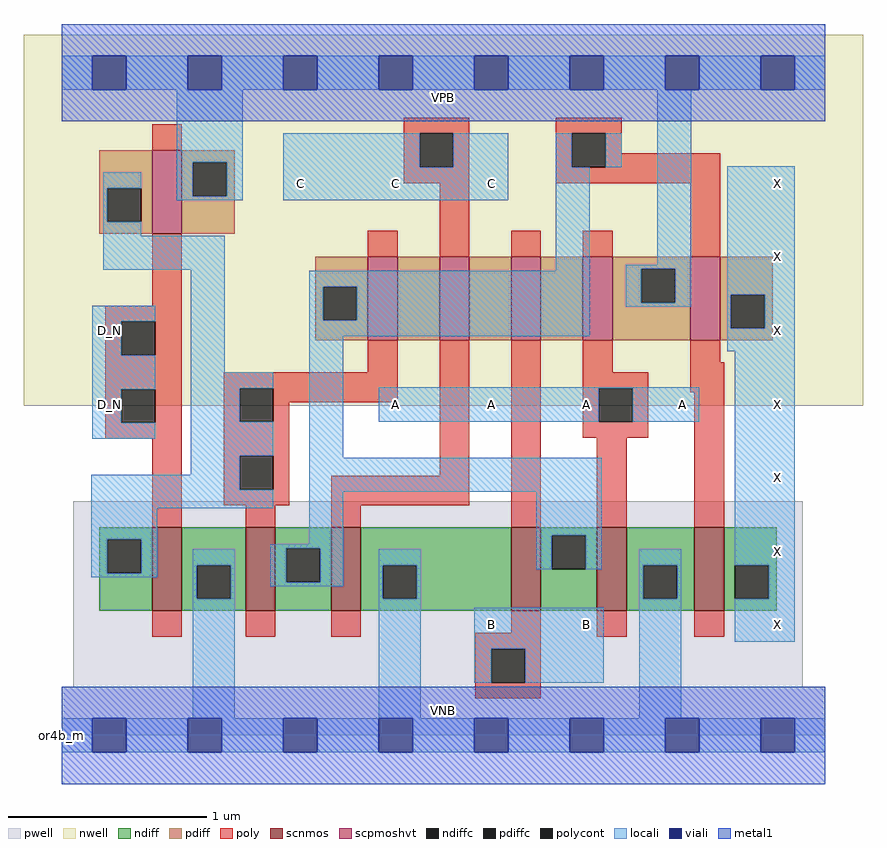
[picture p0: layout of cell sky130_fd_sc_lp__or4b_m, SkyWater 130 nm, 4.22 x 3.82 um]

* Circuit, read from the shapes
.subckt sky130_fd_sc_lp__or4b_m A B C D_N VGND VNB VPB VPWR X
XM1 VGND D_N n1 VNB sky130_fd_pr__nfet_01v8 w=0.42 l=0.15
XM2 n2 n1 VGND VNB sky130_fd_pr__nfet_01v8 w=0.42 l=0.15
XM3 VGND C n2 VNB sky130_fd_pr__nfet_01v8 w=0.42 l=0.15
XM4 n2 B VGND VNB sky130_fd_pr__nfet_01v8 w=0.42 l=0.15
XM5 VGND A n2 VNB sky130_fd_pr__nfet_01v8 w=0.42 l=0.15
XM6 X n2 VGND VNB sky130_fd_pr__nfet_01v8 w=0.42 l=0.15
XM7 VPWR D_N n1 VPB sky130_fd_pr__pfet_01v8_hvt w=0.42 l=0.15
XM8 n3 n1 n2 VPB sky130_fd_pr__pfet_01v8_hvt w=0.42 l=0.15
XM9 n4 C n3 VPB sky130_fd_pr__pfet_01v8_hvt w=0.42 l=0.15
XM10 n5 B n4 VPB sky130_fd_pr__pfet_01v8_hvt w=0.42 l=0.15
XM11 VPWR A n5 VPB sky130_fd_pr__pfet_01v8_hvt w=0.42 l=0.15
XM12 X n2 VPWR VPB sky130_fd_pr__pfet_01v8_hvt w=0.42 l=0.15
.ends

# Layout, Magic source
magic
tech sky130A
magscale 1 2
<< nwell >>
rect -38 331 806 704
<< pwell >>
rect 12 49 745 235
rect 0 0 768 49
<< scnmos >>
rect 91 125 121 209
rect 185 125 215 209
rect 271 125 301 209
rect 452 125 482 209
rect 538 125 568 209
rect 636 125 666 209
<< scpmoshvt >>
rect 91 504 121 588
rect 308 397 338 481
rect 380 397 410 481
rect 452 397 482 481
rect 524 397 554 481
rect 632 397 662 481
<< ndiff >>
rect 38 197 91 209
rect 38 163 46 197
rect 80 163 91 197
rect 38 125 91 163
rect 121 171 185 209
rect 121 137 136 171
rect 170 137 185 171
rect 121 125 185 137
rect 215 188 271 209
rect 215 154 226 188
rect 260 154 271 188
rect 215 125 271 154
rect 301 171 452 209
rect 301 137 323 171
rect 357 137 452 171
rect 301 125 452 137
rect 482 201 538 209
rect 482 167 493 201
rect 527 167 538 201
rect 482 125 538 167
rect 568 171 636 209
rect 568 137 585 171
rect 619 137 636 171
rect 568 125 636 137
rect 666 171 719 209
rect 666 137 677 171
rect 711 137 719 171
rect 666 125 719 137
<< pdiff >>
rect 38 550 91 588
rect 38 516 46 550
rect 80 516 91 550
rect 38 504 91 516
rect 121 576 174 588
rect 121 542 132 576
rect 166 542 174 576
rect 121 504 174 542
rect 255 451 308 481
rect 255 417 263 451
rect 297 417 308 451
rect 255 397 308 417
rect 338 397 380 481
rect 410 397 452 481
rect 482 397 524 481
rect 554 469 632 481
rect 554 435 583 469
rect 617 435 632 469
rect 554 397 632 435
rect 662 443 715 481
rect 662 409 673 443
rect 707 409 715 443
rect 662 397 715 409
<< ndiffc >>
rect 46 163 80 197
rect 136 137 170 171
rect 226 154 260 188
rect 323 137 357 171
rect 493 167 527 201
rect 585 137 619 171
rect 677 137 711 171
<< pdiffc >>
rect 46 516 80 550
rect 132 542 166 576
rect 263 417 297 451
rect 583 435 617 469
rect 673 409 707 443
<< poly >>
rect 91 588 121 614
rect 344 605 410 621
rect 344 571 360 605
rect 394 571 410 605
rect 344 555 410 571
rect 497 605 563 621
rect 497 571 513 605
rect 547 585 563 605
rect 547 571 662 585
rect 497 555 662 571
rect 91 432 121 504
rect 308 481 338 507
rect 380 481 410 555
rect 452 481 482 507
rect 524 481 554 507
rect 632 481 662 555
rect 44 416 121 432
rect 44 382 60 416
rect 94 382 121 416
rect 44 348 121 382
rect 308 365 338 397
rect 44 314 60 348
rect 94 314 121 348
rect 44 298 121 314
rect 91 209 121 298
rect 163 349 338 365
rect 163 315 179 349
rect 213 335 338 349
rect 213 315 229 335
rect 163 281 229 315
rect 163 247 179 281
rect 213 247 229 281
rect 380 261 410 397
rect 163 231 229 247
rect 271 231 410 261
rect 185 209 215 231
rect 271 209 301 231
rect 452 209 482 397
rect 524 365 554 397
rect 632 375 662 397
rect 524 349 590 365
rect 524 315 540 349
rect 574 315 590 349
rect 632 345 666 375
rect 524 299 590 315
rect 538 209 568 299
rect 636 209 666 345
rect 91 99 121 125
rect 185 99 215 125
rect 271 99 301 125
rect 452 103 482 125
rect 416 87 482 103
rect 538 99 568 125
rect 636 99 666 125
rect 416 53 432 87
rect 466 53 482 87
rect 416 37 482 53
<< polycont >>
rect 360 571 394 605
rect 513 571 547 605
rect 60 382 94 416
rect 60 314 94 348
rect 179 315 213 349
rect 179 247 213 281
rect 540 315 574 349
rect 432 53 466 87
<< locali >>
rect 0 649 31 683
rect 65 649 127 683
rect 161 649 223 683
rect 257 649 319 683
rect 353 649 415 683
rect 449 649 511 683
rect 545 649 607 683
rect 641 649 703 683
rect 737 649 768 683
rect 116 576 182 649
rect 42 550 80 566
rect 42 516 46 550
rect 116 542 132 576
rect 166 542 182 576
rect 116 538 182 542
rect 223 571 360 605
rect 394 571 449 605
rect 223 538 449 571
rect 497 571 513 605
rect 547 571 563 605
rect 42 502 80 516
rect 42 468 164 502
rect 31 416 94 432
rect 31 382 60 416
rect 31 348 94 382
rect 31 314 60 348
rect 31 298 94 314
rect 130 365 164 468
rect 497 467 531 571
rect 599 473 633 649
rect 249 451 531 467
rect 249 417 263 451
rect 297 417 531 451
rect 567 469 633 473
rect 567 435 583 469
rect 617 435 633 469
rect 567 431 633 435
rect 669 443 737 572
rect 249 401 531 417
rect 669 409 673 443
rect 707 409 737 443
rect 130 349 213 365
rect 130 315 179 349
rect 130 281 213 315
rect 130 262 179 281
rect 30 247 179 262
rect 30 228 213 247
rect 249 279 283 401
rect 669 386 737 409
rect 319 349 641 350
rect 319 315 540 349
rect 574 315 641 349
rect 249 245 543 279
rect 30 197 96 228
rect 30 163 46 197
rect 80 163 96 197
rect 249 192 283 245
rect 210 188 283 192
rect 30 159 96 163
rect 132 171 174 187
rect 132 137 136 171
rect 170 137 174 171
rect 210 154 226 188
rect 260 154 283 188
rect 477 201 543 245
rect 210 150 283 154
rect 319 171 361 187
rect 132 17 174 137
rect 319 137 323 171
rect 357 137 361 171
rect 477 167 493 201
rect 527 167 543 201
rect 581 171 623 187
rect 319 17 361 137
rect 581 137 585 171
rect 619 137 623 171
rect 415 87 545 128
rect 415 53 432 87
rect 466 53 545 87
rect 581 17 623 137
rect 677 171 737 386
rect 711 137 737 171
rect 677 94 737 137
rect 0 -17 31 17
rect 65 -17 127 17
rect 161 -17 223 17
rect 257 -17 319 17
rect 353 -17 415 17
rect 449 -17 511 17
rect 545 -17 607 17
rect 641 -17 703 17
rect 737 -17 768 17
<< viali >>
rect 31 649 65 683
rect 127 649 161 683
rect 223 649 257 683
rect 319 649 353 683
rect 415 649 449 683
rect 511 649 545 683
rect 607 649 641 683
rect 703 649 737 683
rect 31 -17 65 17
rect 127 -17 161 17
rect 223 -17 257 17
rect 319 -17 353 17
rect 415 -17 449 17
rect 511 -17 545 17
rect 607 -17 641 17
rect 703 -17 737 17
<< metal1 >>
rect 0 683 768 715
rect 0 649 31 683
rect 65 649 127 683
rect 161 649 223 683
rect 257 649 319 683
rect 353 649 415 683
rect 449 649 511 683
rect 545 649 607 683
rect 641 649 703 683
rect 737 649 768 683
rect 0 617 768 649
rect 0 17 768 49
rect 0 -17 31 17
rect 65 -17 127 17
rect 161 -17 223 17
rect 257 -17 319 17
rect 353 -17 415 17
rect 449 -17 511 17
rect 545 -17 607 17
rect 641 -17 703 17
rect 737 -17 768 17
rect 0 -49 768 -17
<< labels >>
flabel pwell s 0 0 768 49 0 FreeSans 200 0 0 0 VNB
port 6 nsew ground bidirectional
flabel nwell s 0 617 768 666 0 FreeSans 200 0 0 0 VPB
port 7 nsew power bidirectional
rlabel comment s 0 0 0 0 4 or4b_m
flabel metal1 s 0 617 768 666 0 FreeSans 340 0 0 0 VPWR
port 8 nsew power bidirectional
flabel metal1 s 0 0 768 49 0 FreeSans 340 0 0 0 VGND
port 5 nsew ground bidirectional
flabel locali s 223 538 257 572 0 FreeSans 340 0 0 0 C
port 3 nsew signal input
flabel locali s 319 538 353 572 0 FreeSans 340 0 0 0 C
port 3 nsew signal input
flabel locali s 415 538 449 572 0 FreeSans 340 0 0 0 C
port 3 nsew signal input
flabel locali s 703 94 737 128 0 FreeSans 340 0 0 0 X
port 9 nsew signal output
flabel locali s 703 168 737 202 0 FreeSans 340 0 0 0 X
port 9 nsew signal output
flabel locali s 703 242 737 276 0 FreeSans 340 0 0 0 X
port 9 nsew signal output
flabel locali s 703 316 737 350 0 FreeSans 340 0 0 0 X
port 9 nsew signal output
flabel locali s 703 390 737 424 0 FreeSans 340 0 0 0 X
port 9 nsew signal output
flabel locali s 703 464 737 498 0 FreeSans 340 0 0 0 X
port 9 nsew signal output
flabel locali s 703 538 737 572 0 FreeSans 340 0 0 0 X
port 9 nsew signal output
flabel locali s 319 316 353 350 0 FreeSans 340 0 0 0 A
port 1 nsew signal input
flabel locali s 415 316 449 350 0 FreeSans 340 0 0 0 A
port 1 nsew signal input
flabel locali s 511 316 545 350 0 FreeSans 340 0 0 0 A
port 1 nsew signal input
flabel locali s 607 316 641 350 0 FreeSans 340 0 0 0 A
port 1 nsew signal input
flabel locali s 415 94 449 128 0 FreeSans 340 0 0 0 B
port 2 nsew signal input
flabel locali s 511 94 545 128 0 FreeSans 340 0 0 0 B
port 2 nsew signal input
flabel locali s 31 316 65 350 0 FreeSans 340 0 0 0 D_N
port 4 nsew signal input
flabel locali s 31 390 65 424 0 FreeSans 340 0 0 0 D_N
port 4 nsew signal input
<< properties >>
string LEFsite unit
string LEFclass CORE
string FIXED_BBOX 0 0 768 666
string GDS_FILE $PDKPATH/libs.ref/sky130_fd_sc_lp/gds/sky130_fd_sc_lp.gds
string LEFsymmetry X Y R90
string GDS_END 2925864
string GDS_START 2917932
<< end >>
